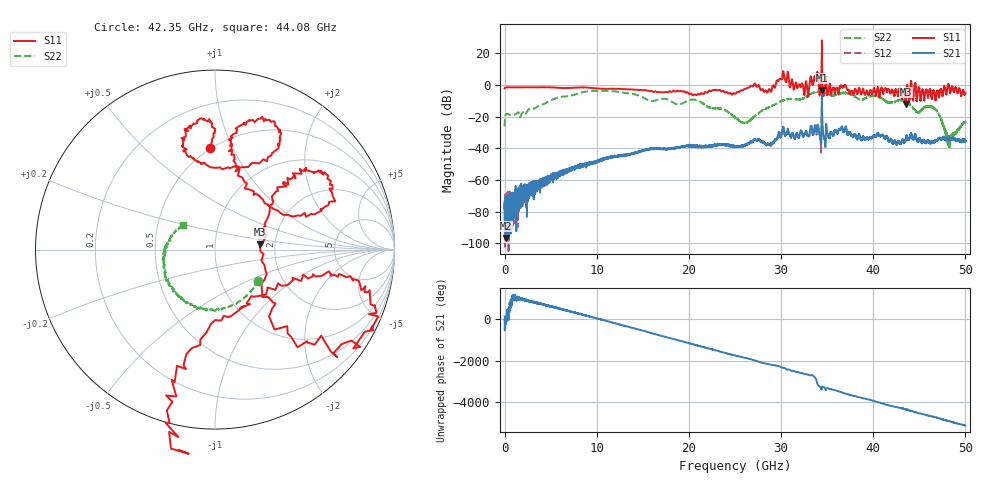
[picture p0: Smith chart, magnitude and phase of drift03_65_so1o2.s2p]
!Created with skrf (http://scikit-rf.org).
# Hz S RI R 50.0
!freq ReS11 ImS11 ReS21 ImS21 ReS12 ImS12 ReS22 ImS22
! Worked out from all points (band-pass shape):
!   10000 points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, 5.3 MHz to 50 GHz, reference 50 ohm
!   highest |S21| = -3.17 dB at 34.43 GHz (marker M1); lowest = -96.6 dB at 190.3 MHz (marker M2)
!   |S21| within 3 dB of the highest: 34.42736 GHz to 34.43483 GHz (7.47 MHz wide, 0.0217 % of centre)
!   lowest |S11| = -12.0 dB at 43.52 GHz (marker M3), VSWR 1.67, Z = 83 + j5.07 ohm
!   |S11| at or under -10 dB: 43.4841 GHz to 43.54466 GHz (60.56 MHz wide, 0.139 % of centre); 44.70862 GHz to 44.7112 GHz (2.581 MHz wide, 0.00577 % of centre)
!   |S22| runs from -39.3 to -3.6 dB; largest |S21 - S12| = 0.22
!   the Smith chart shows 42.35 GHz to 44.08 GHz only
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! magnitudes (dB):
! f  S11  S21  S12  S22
! 5.3 MHz  -2.1  -73.6  -73.8  -26.0
! 190.3 MHz  -1.4  -96.6  -77.2  -18.3
! 2.94 GHz  -1.4  -64.1  -65.3  -14.4
! 8.34 GHz  -1.5  -49.9  -51.2  -4.7
! 16.67 GHz  -4.4  -40.3  -40.4  -9.2
! 20.73 GHz  -6.3  -38.7  -38.7  -9.4
! 25.01 GHz  -5.5  -38.5  -38.9  -20.4
! 26.22 GHz  -2.2  -37.8  -37.7  -23.7
! 27.36 GHz  -1.1  -34.9  -34.9  -18.7
! 28.72 GHz  -2.5  -37.6  -37.5  -14.1
! 30.14 GHz  4.4  -29.6  -29.9  -9.9
! 32.74 GHz  2.0  -29.4  -29.3  -7.4
! 33.34 GHz  2.7  -27.4  -27.7  -5.2
! 33.82 GHz  4.0  -29.1  -29.5  -4.2
! 34.43 GHz  28.2  -3.2  -5.1  -3.9
! 36.48 GHz  -0.4  -28.0  -27.9  -5.3
! 41.67 GHz  -2.8  -35.5  -35.6  -11.1
! 43.52 GHz  -12.0  -34.5  -34.6  -10.5
! 44.8 GHz  -6.5  -35.3  -35.3  -17.2
! 46.67 GHz  -5.9  -35.1  -35.5  -14.6
! 48.21 GHz  -0.1  -32.9  -33.4  -39.3
! 50 GHz  -5.2  -35.1  -35.1  -23.2
